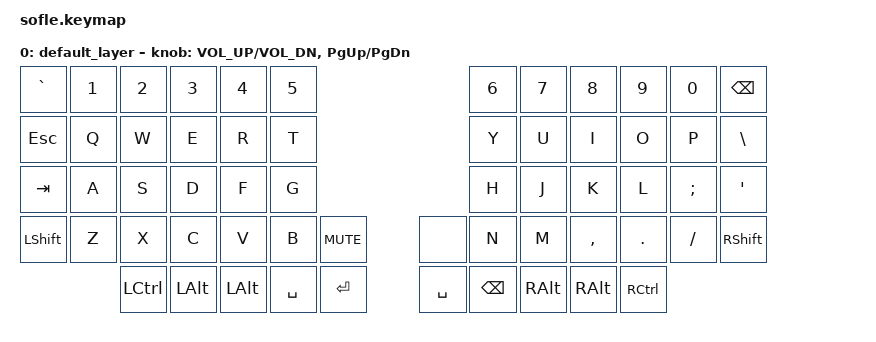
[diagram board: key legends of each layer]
#include <behaviors.dtsi>
#include <dt-bindings/zmk/keys.h>
#include <dt-bindings/zmk/bt.h>

/ {
    keymap {
        compatible = "zmk,keymap";

        default_layer {
            bindings = <
&kp GRAVE &kp N1 &kp N2 &kp N3 &kp N4 &kp N5                                   &kp N6 &kp N7    &kp N8    &kp N9    &kp N0   &kp BSPC
&kp ESC   &kp Q  &kp W  &kp E  &kp R  &kp T                                    &kp Y  &kp U     &kp I     &kp O     &kp P    &kp BSLH
&kp TAB   &kp A  &kp S  &kp D  &kp F  &kp G                                    &kp H  &kp J     &kp K     &kp L     &kp SEMI &kp SQT
&kp LSHFT &kp Z  &kp X  &kp C  &kp V  &kp B  &kp C_MUTE             &none      &kp N  &kp M     &kp COMMA &kp DOT   &kp FSLH &kp RSHFT
                 &kp LCTRL &kp LALT &kp LALT &kp SPACE &kp ENTER    &kp SPACE  &kp BSPC  &kp RALT  &kp RALT  &kp RCTRL
            >;

            sensor-bindings = <&inc_dec_kp C_VOL_UP C_VOL_DN &inc_dec_kp PG_UP PG_DN>;
        };
    };
};
